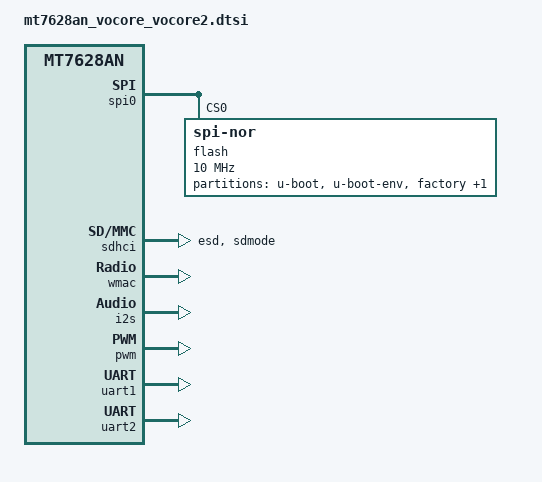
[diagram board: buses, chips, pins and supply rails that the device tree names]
#include "mt7628an.dtsi"

#include <dt-bindings/gpio/gpio.h>

/ {
	compatible = "vocore,vocore2", "mediatek,mt7628an-soc";

	aliases {
		label-mac-device = &wmac;
	};

	chosen {
		bootargs = "console=ttyS2,115200";
	};
};

&spi0 {
	status = "okay";

	flash@0 {
		compatible = "jedec,spi-nor";
		reg = <0>;
		spi-max-frequency = <10000000>;

		partitions {
			compatible = "fixed-partitions";
			#address-cells = <1>;
			#size-cells = <1>;

			partition@0 {
				label = "u-boot";
				reg = <0x0 0x30000>;
				read-only;
			};

			partition@30000 {
				label = "u-boot-env";
				reg = <0x30000 0x10000>;
				read-only;
			};

			partition@40000 {
				label = "factory";
				reg = <0x40000 0x10000>;
				read-only;

				nvmem-layout {
					compatible = "fixed-layout";
					#address-cells = <1>;
					#size-cells = <1>;

					eeprom_factory_0: eeprom@0 {
						reg = <0x0 0x400>;
					};

					macaddr_factory_28: macaddr@28 {
						reg = <0x28 0x6>;
					};
				};
			};

			firmware: partition@50000 {
				compatible = "denx,uimage";
				label = "firmware";
				/* reg property is set based on flash size in DTS files */
			};
		};
	};
};

&pinctrl {
	ephy-digital;

	sdxc_iot_mode: sdxc_iot_mode {
		esd {
			groups = "esd";
			function = "iot";
		};

		sdxc {
			groups = "sdmode";
			function = "sdxc";
		};
	};
};

&state_default {
	gpio {
		groups = "wled_an", "refclk", "wdt";
		function = "gpio";
	};
};

&sdhci {
	status = "okay";

	pinctrl-0 = <&sdxc_iot_mode>;
	pinctrl-1 = <&sdxc_iot_mode>;
};

&wmac {
	status = "okay";

	nvmem-cells = <&eeprom_factory_0>;
	nvmem-cell-names = "eeprom";
};

&ethernet {
	nvmem-cells = <&macaddr_factory_28>;
	nvmem-cell-names = "mac-address";
};

&esw {
	mediatek,portmap = <0x7>;
	mediatek,portdisable = <0x3a>;
};

&i2s {
	status = "okay";
};

&gdma {
	status = "okay";
};

&pwm {
	status = "okay";
};

&uart1 {
	status = "okay";
};

&uart2 {
	status = "okay";
};
